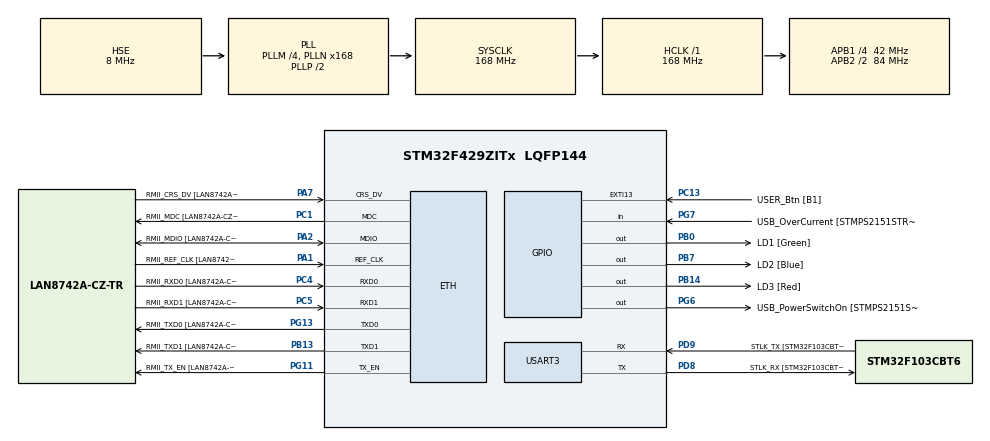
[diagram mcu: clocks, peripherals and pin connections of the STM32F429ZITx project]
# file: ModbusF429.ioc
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ETH.MediaInterface=ETH_MEDIA_INTERFACE_RMII
ETH.PHY_Name=LAN8742A_PHY_ADDRESS
ETH.PHY_Value=0
ETH.PhyAddress=0
FREERTOS.Tasks01=ModbusTestTask,24,128,StartModbusTestTask,Default,NULL,Dynamic,NULL,NULL
Mcu.Family=STM32F4
Mcu.Name=STM32F429ZITx
Mcu.Package=LQFP144
NVIC.PriorityGroup=NVIC_PRIORITYGROUP_4
NVIC.TIM1_UP_TIM10_IRQn=true\:0\:0\:false\:false\:true\:false\:false\:true
NVIC.TimeBase=TIM1_UP_TIM10_IRQn
NVIC.TimeBaseIP=TIM1
NVIC.USART3_IRQn=true\:5\:0\:false\:false\:true\:true\:true\:true
PA1.GPIO_Label=RMII_REF_CLK [LAN8742A-CZ-TR_REFCLK0]
PA1.Mode=RMII
PA1.Signal=ETH_REF_CLK
PA10.GPIO_Label=USB_ID
PA10.Signal=USB_OTG_FS_ID
PA11.GPIO_Label=USB_DM
PA11.Signal=USB_OTG_FS_DM
PA12.GPIO_Label=USB_DP
PA12.Signal=USB_OTG_FS_DP
PA13.GPIO_Label=TMS
PA13.Mode=Serial_Wire
PA13.Signal=SYS_JTMS-SWDIO
PA14.GPIO_Label=TCK
PA14.Mode=Serial_Wire
PA14.Signal=SYS_JTCK-SWCLK
PA2.GPIO_Label=RMII_MDIO [LAN8742A-CZ-TR_MDIO]
PA2.Mode=RMII
PA2.Signal=ETH_MDIO
PA7.GPIO_Label=RMII_CRS_DV [LAN8742A-CZ-TR_CRS_DV]
PA7.Mode=RMII
PA7.Signal=ETH_CRS_DV
PA8.GPIO_Label=USB_SOF [TP1]
PA8.Signal=USB_OTG_FS_SOF
PA9.GPIO_Label=USB_VBUS
PA9.Signal=USB_OTG_FS_VBUS
PB0.GPIO_Label=LD1 [Green]
PB0.Signal=GPIO_Output
PB13.GPIO_Label=RMII_TXD1 [LAN8742A-CZ-TR_TXD1]
PB13.Mode=RMII
PB13.Signal=ETH_TXD1
PB14.GPIO_Label=LD3 [Red]
PB14.Signal=GPIO_Output
PB7.GPIO_Label=LD2 [Blue]
PB7.Signal=GPIO_Output
PC1.GPIO_Label=RMII_MDC [LAN8742A-CZ-TR_MDC]
PC1.Mode=RMII
PC1.Signal=ETH_MDC
PC13.GPIO_Label=USER_Btn [B1]
PC13.Signal=GPXTI13
PC14/OSC32_IN.Mode=LSE-External-Oscillator
PC14/OSC32_IN.Signal=RCC_OSC32_IN
PC15/OSC32_OUT.Mode=LSE-External-Oscillator
PC15/OSC32_OUT.Signal=RCC_OSC32_OUT
PC4.GPIO_Label=RMII_RXD0 [LAN8742A-CZ-TR_RXD0]
PC4.Mode=RMII
PC4.Signal=ETH_RXD0
PC5.GPIO_Label=RMII_RXD1 [LAN8742A-CZ-TR_RXD1]
PC5.Mode=RMII
PC5.Signal=ETH_RXD1
PD8.GPIO_Label=STLK_RX [STM32F103CBT6_PA3]
PD8.Mode=Asynchronous
PD8.Signal=USART3_TX
PD9.GPIO_Label=STLK_TX [STM32F103CBT6_PA2]
PD9.Mode=Asynchronous
PD9.Signal=USART3_RX
PG11.GPIO_Label=RMII_TX_EN [LAN8742A-CZ-TR_TXEN]
PG11.Mode=RMII
PG11.Signal=ETH_TX_EN
PG13.GPIO_Label=RMII_TXD0 [LAN8742A-CZ-TR_TXD0]
PG13.Mode=RMII
PG13.Signal=ETH_TXD0
PG6.GPIO_Label=USB_PowerSwitchOn [STMPS2151STR_EN]
PG6.Signal=GPIO_Output
PG7.GPIO_Label=USB_OverCurrent [STMPS2151STR_FAULT]
PG7.Signal=GPIO_Input
PH0/OSC_IN.GPIO_Label=MCO [STM32F103CBT6_PA8]
PH0/OSC_IN.Mode=HSE-External-Clock-Source
PH0/OSC_IN.Signal=RCC_OSC_IN
PH1/OSC_OUT.Mode=HSE-External-Clock-Source
PH1/OSC_OUT.Signal=RCC_OSC_OUT
ProjectManager.HeapSize=0x200
ProjectManager.StackSize=0x400
ProjectManager.TargetToolchain=STM32CubeIDE
RCC.48MHZClocksFreq_Value=48000000
RCC.AHBFreq_Value=168000000
RCC.APB1CLKDivider=RCC_HCLK_DIV4
RCC.APB1Freq_Value=42000000
RCC.APB1TimFreq_Value=84000000
RCC.APB2CLKDivider=RCC_HCLK_DIV2
RCC.APB2Freq_Value=84000000
RCC.APB2TimCLKDivider=2
RCC.APB2TimFreq_Value=168000000
RCC.CortexFreq_Value=168000000
RCC.HCLKFreq_Value=168000000
RCC.HSE_VALUE=8000000
RCC.HSI_VALUE=16000000
RCC.PLLM=4
RCC.PLLMUL=RCC_PLL_MUL9
RCC.PLLN=168
RCC.PLLQ=7
RCC.PLLSourceVirtual=RCC_PLLSOURCE_HSE
RCC.PRESCALERUSB=RCC_USBCLKSOURCE_PLL_DIV1_5
RCC.SYSCLKFreq_VALUE=168000000
RCC.SYSCLKSource=RCC_SYSCLKSOURCE_PLLCLK
RCC.SYSCLKSourceVirtual=RCC_SYSCLKSOURCE_PLLCLK
RCC.USBFreq_Value=48000000
RCC.VCOOutputFreq_Value=336000000
USART3.VirtualMode=VM_ASYNC
VP_FREERTOS_VS_CMSIS_V2.Mode=CMSIS_V2
VP_SYS_VS_tim1.Mode=TIM1
board=NUCLEO-F429ZI

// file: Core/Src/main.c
/* USER CODE BEGIN Header */
/**
  ******************************************************************************
  * @file           : main.c
  * @brief          : Main program body
  ******************************************************************************
  * Example running a Modbus Slave concurrently in a NUCLEO144-F429ZI
  * Modbus Slave: USART3 (connected to ST-Link)
  *   PD8     ------> USART3_TX
  *   PD9     ------> USART3_RX
  *
  ******************************************************************************
  */
/* USER CODE END Header */

#include "main.h"
#include "cmsis_os.h"
#include "eth.h"
#include "usart.h"
#include "gpio.h"

/* USER CODE BEGIN PV */
modbusHandler_t ModbusH;
uint16_t ModbusDATA[16];
/* USER CODE END PV */

void SystemClock_Config(void);
void MX_FREERTOS_Init(void);

int main(void)
{

  /* MCU Configuration--------------------------------------------------------*/

  /* Reset of all peripherals, Initializes the Flash interface and the Systick. */
  HAL_Init();

  /* Configure the system clock */
  SystemClock_Config();

  /* Initialize all configured peripherals */
  MX_GPIO_Init();
  //MX_ETH_Init();
  MX_USART3_UART_Init();
  /* USER CODE BEGIN 2 */

  /* Modbus Slave initialization */
  //ModbusH.uiModbusType = SLAVE_RTU;
  ModbusH.uiModbusType = MASTER_RTU;
  ModbusH.port =  &huart3; // This is the UART port connected to STLINK in the NUCLEO F429
  //ModbusH.u8id = 1; //slave ID
  ModbusH.u8id = 0; //slave ID for master always 0
  ModbusH.u16timeOut = 1000;
  ModbusH.EN_Port = NULL; // No RS485
   //ModbusH2.EN_Port = LD2_GPIO_Port; // RS485 Enable
   //ModbusH2.EN_Pin = LD2_Pin; // RS485 Enable
  ModbusH.u32overTime = 0;
  ModbusH.au16regs = ModbusDATA;
  ModbusH.u16regsize= sizeof(ModbusDATA)/sizeof(ModbusDATA[0]);
   //Initialize Modbus library
  ModbusInit(&ModbusH);
  //Start capturing traffic on serial Port
  ModbusStart(&ModbusH);

  /* USER CODE END 2 */

  /* Init scheduler */
  osKernelInitialize();  /* Call init function for freertos objects (in freertos.c) */
  MX_FREERTOS_Init();
  /* Start scheduler */
  osKernelStart();

  /* We should never get here as control is now taken by the scheduler */
  /* Infinite loop */
  while (1)
  {

  }
}

void SystemClock_Config(void)
{
  RCC_OscInitTypeDef RCC_OscInitStruct = {0};
  RCC_ClkInitTypeDef RCC_ClkInitStruct = {0};

  /** Configure the main internal regulator output voltage
  */
  __HAL_RCC_PWR_CLK_ENABLE();
  __HAL_PWR_VOLTAGESCALING_CONFIG(PWR_REGULATOR_VOLTAGE_SCALE1);
  /** Initializes the CPU, AHB and APB busses clocks
  */
  RCC_OscInitStruct.OscillatorType = RCC_OSCILLATORTYPE_HSE;
  RCC_OscInitStruct.HSEState = RCC_HSE_BYPASS;
  RCC_OscInitStruct.PLL.PLLState = RCC_PLL_ON;
  RCC_OscInitStruct.PLL.PLLSource = RCC_PLLSOURCE_HSE;
  RCC_OscInitStruct.PLL.PLLM = 4;
  RCC_OscInitStruct.PLL.PLLN = 168;
  RCC_OscInitStruct.PLL.PLLP = RCC_PLLP_DIV2;
  RCC_OscInitStruct.PLL.PLLQ = 7;
  if (HAL_RCC_OscConfig(&RCC_OscInitStruct) != HAL_OK)
  {
    Error_Handler();
  }
  /** Initializes the CPU, AHB and APB busses clocks
  */
  RCC_ClkInitStruct.ClockType = RCC_CLOCKTYPE_HCLK|RCC_CLOCKTYPE_SYSCLK
                              |RCC_CLOCKTYPE_PCLK1|RCC_CLOCKTYPE_PCLK2;
  RCC_ClkInitStruct.SYSCLKSource = RCC_SYSCLKSOURCE_PLLCLK;
  RCC_ClkInitStruct.AHBCLKDivider = RCC_SYSCLK_DIV1;
  RCC_ClkInitStruct.APB1CLKDivider = RCC_HCLK_DIV4;
  RCC_ClkInitStruct.APB2CLKDivider = RCC_HCLK_DIV2;

  if (HAL_RCC_ClockConfig(&RCC_ClkInitStruct, FLASH_LATENCY_5) != HAL_OK)
  {
    Error_Handler();
  }
}

 /**
  * @brief  Period elapsed callback in non blocking mode
  * @note   This function is called  when TIM1 interrupt took place, inside
  * HAL_TIM_IRQHandler(). It makes a direct call to HAL_IncTick() to increment
  * a global variable "uwTick" used as application time base.
  * @param  htim : TIM handle
  * @retval None
  */
void HAL_TIM_PeriodElapsedCallback(TIM_HandleTypeDef *htim)
{
  if (htim->Instance == TIM1) {
    HAL_IncTick();
  }
}

void Error_Handler(void)
{
}

/************************ (C) COPYRIGHT STMicroelectronics *****END OF FILE****/

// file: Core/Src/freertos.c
/* USER CODE BEGIN Header */
/**
  ******************************************************************************
  * File Name          : freertos.c
  * Description        : Code for freertos applications
  ******************************************************************************
  * @attention
  *
  * <h2><center>&copy; Copyright (c) 2020 STMicroelectronics.
  * All rights reserved.</center></h2>
  *
  * This software component is licensed by ST under Ultimate Liberty license
  * SLA0044, the "License"; You may not use this file except in compliance with
  * the License. You may obtain a copy of the License at:
  *                             www.st.com/SLA0044
  *
  ******************************************************************************
  */
/* USER CODE END Header */

#include "FreeRTOS.h"
#include "task.h"
#include "main.h"
#include "cmsis_os.h"

/* USER CODE BEGIN Includes */
#include "semphr.h"
/* USER CODE END Includes */

/* Definitions for ModbusTestTask */
osThreadId_t ModbusTestTaskHandle;
const osThreadAttr_t ModbusTestTask_attributes = {
  .name = "ModbusTestTask",
  .priority = (osPriority_t) osPriorityNormal,
  .stack_size = 128 * 4
};

void StartModbusTestTask(void *argument);

void MX_FREERTOS_Init(void); /* (MISRA C 2004 rule 8.1) */

void MX_FREERTOS_Init(void) {

  /* Create the thread(s) */
  /* creation of ModbusTestTask */
  ModbusTestTaskHandle = osThreadNew(StartModbusTestTask, NULL, &ModbusTestTask_attributes);

}

void StartModbusTestTask(void *argument)
{
  /* USER CODE BEGIN StartModbusTestTask */
  /* Infinite loop */
/* master example */
	modbus_t telegram;
	uint32_t u32NotificationValue;

	telegram.u8id = 1; // slave address
	telegram.u8fct = 3; // function code (this one is registers read)
	//telegram.u16RegAdd = 0x160; // start address in slave
	telegram.u16RegAdd = 0x0; // start address in slave
	telegram.u16CoilsNo = 10; // number of elements (coils or registers) to read
	telegram.au16reg = ModbusDATA; // pointer to a memory array in the Arduino

	for(;;)
	{
	    ModbusQuery(&ModbusH, telegram); // make a query
	    u32NotificationValue = ulTaskNotifyTake(pdTRUE, portMAX_DELAY); // block until query finishes
	    if(u32NotificationValue)
	    {
	     //handle error
	       while(1);
	    }
	    osDelay(500);
	}

	/*  slave example */
	/*
  for(;;)
  {
	  xSemaphoreTake(ModbusH.ModBusSphrHandle , portMAX_DELAY);
	  HAL_GPIO_WritePin(LD2_GPIO_Port, LD2_Pin, ModbusH.au16regs[0] & 0x1);
	  xSemaphoreGive(ModbusH.ModBusSphrHandle);
	  osDelay(200);
  }
  */
  /* USER CODE END StartModbusTestTask */
}

/************************ (C) COPYRIGHT STMicroelectronics *****END OF FILE****/
